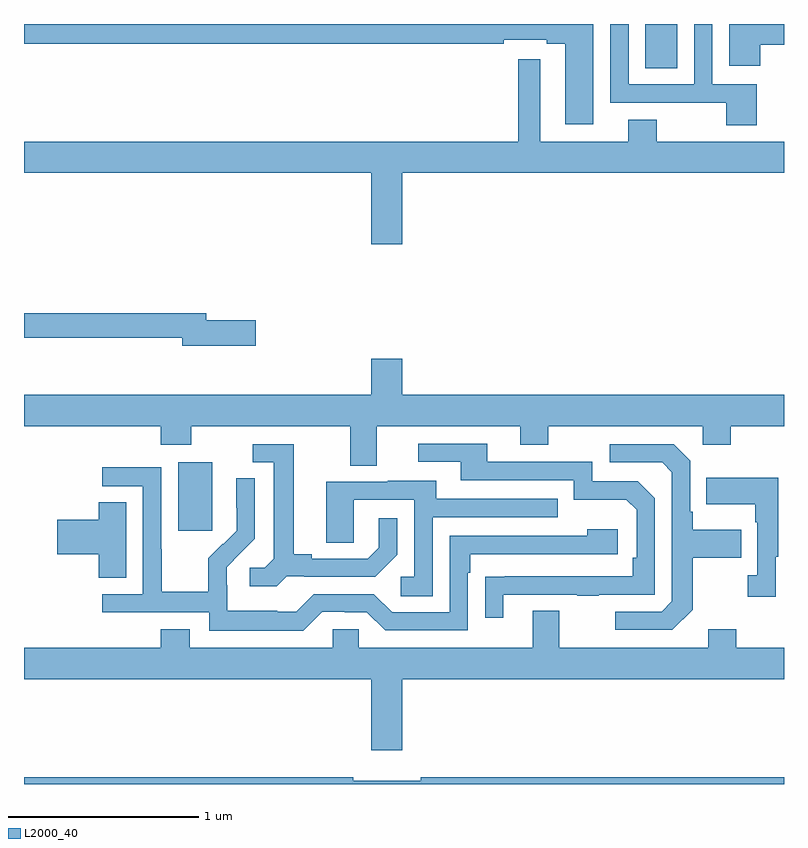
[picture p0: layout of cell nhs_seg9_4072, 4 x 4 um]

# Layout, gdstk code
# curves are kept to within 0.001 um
import gdstk
lib = gdstk.Library(unit=1e-6, precision=1e-09)
def R(c, l, rs):  # rectangles x0, y0, x1, y1
    for r in rs: c.add(gdstk.rectangle(r[:2], r[2:], *l))
def P(c, l, *ps):  # polygons
    for p in ps: c.add(gdstk.Polygon(p, *l))
L2000_40 = (2000, 40)

nhs_seg9_4072 = lib.new_cell('nhs_seg9_4072')
R(nhs_seg9_4072, L2000_40, [(343.811,1231.833,343.99,1232.194), (346.271,1234.267,346.438,1234.5)])
P(nhs_seg9_4072, L2000_40, [(346.856,1234.182),(346.623,1234.182),(346.623,1234.5),(346.527,1234.5),(346.527,1234.182),(346.182,1234.182),(346.182,1234.5),(346.086,1234.5),(346.086,1234.086),(346.43,1234.086),(346.43,1234.085),(346.696,1234.085),(346.696,1233.966),(346.856,1233.966)],
  [(346.874,1234.391),(347,1234.391),(347,1234.5),(346.712,1234.5),(346.712,1234.281),(346.874,1234.281)],
  [(345.997,1234.5),(343,1234.5),(343,1234.396),(345.524,1234.396),(345.524,1234.416),(345.752,1234.416),(345.752,1234.396),(345.848,1234.396),(345.848,1233.972),(345.997,1233.972)],
  [(344.992,1233.716),(347,1233.716),(347,1233.88),(346.329,1233.88),(346.329,1233.997),(346.181,1233.997),(346.181,1233.88),(345.718,1233.88),(345.718,1234.315),(345.601,1234.315),(345.601,1233.88),(343,1233.88),(343,1233.716),(344.828,1233.716),(344.828,1233.342),(344.992,1233.342)],
  [(344.221,1232.942),(343.96,1232.942),(343.96,1232.978),(343,1232.978),(343,1232.85),(343.832,1232.85),(343.832,1232.807),(344.221,1232.807)],
  [(344.857,1232.384),(345.611,1232.384),(345.611,1232.285),(345.759,1232.285),(345.759,1232.384),(346.572,1232.384),(346.572,1232.285),(346.719,1232.285),(346.719,1232.384),(347,1232.384),(347,1232.548),(344.992,1232.548),(344.992,1232.737),(344.828,1232.737),(344.828,1232.548),(343,1232.548),(343,1232.384),(343.721,1232.384),(343.721,1232.285),(343.881,1232.285),(343.881,1232.384),(344.717,1232.384),(344.717,1232.176),(344.857,1232.176)],
  [(345.523,1231.497),(345.913,1231.497),(345.913,1231.492),(346.025,1231.492),(346.025,1231.497),(346.32,1231.497),(346.32,1232.004),(346.23,1232.094),(345.99,1232.094),(345.99,1232.196),(345.439,1232.196),(345.439,1232.292),(345.075,1232.292),(345.075,1232.196),(345.299,1232.196),(345.299,1232.1),(345.894,1232.1),(345.894,1231.997),(346.171,1231.997),(346.224,1231.944),(346.224,1231.69),(346.204,1231.69),(346.204,1231.593),(345.427,1231.592),(345.427,1231.374),(345.523,1231.374)],
  [(344.382,1231.593),(344.476,1231.593),(344.476,1231.59),(344.848,1231.59),(344.964,1231.706),(344.964,1231.9),(344.867,1231.9),(344.867,1231.743),(344.81,1231.686),(344.515,1231.686),(344.515,1231.709),(344.419,1231.709),(344.419,1232.289),(344.205,1232.289),(344.205,1232.193),(344.315,1232.193),(344.315,1231.685),(344.268,1231.638),(344.187,1231.638),(344.187,1231.541),(344.33,1231.541)],
  [(346.519,1231.417),(346.519,1231.69),(346.775,1231.69),(346.775,1231.837),(346.519,1231.837),(346.519,1231.933),(346.506,1231.933),(346.506,1232.202),(346.419,1232.289),(346.083,1232.289),(346.083,1232.193),(346.359,1232.193),(346.41,1232.142),(346.41,1231.461),(346.356,1231.407),(346.113,1231.407),(346.113,1231.311),(346.413,1231.311)],
  [(344.571,1231.407),(344.687,1231.407),(344.687,1231.404),(344.805,1231.404),(344.901,1231.308),(345.336,1231.308),(345.336,1231.613),(345.349,1231.613),(345.349,1231.71),(346.126,1231.71),(346.126,1231.84),(345.965,1231.84),(345.965,1231.806),(345.24,1231.806),(345.24,1231.404),(344.937,1231.404),(344.841,1231.5),(344.526,1231.5),(344.433,1231.407),(344.333,1231.407),(344.333,1231.411),(344.07,1231.411),(344.07,1231.545),(344.068,1231.545),(344.068,1231.642),(344.214,1231.79),(344.214,1232.108),(344.118,1232.108),(344.118,1231.954),(344.12,1231.954),(344.12,1231.832),(344.049,1231.761),(344.046,1231.764),(343.969,1231.687),(343.969,1231.513),(343.725,1231.513),(343.725,1231.736),(343.722,1231.736),(343.722,1232.166),(343.413,1232.166),(343.413,1232.067),(343.626,1232.067),(343.626,1231.5),(343.413,1231.5),(343.413,1231.404),(343.974,1231.404),(343.974,1231.307),(344.471,1231.307)],
  [(346.957,1231.697),(346.969,1231.697),(346.969,1232.113),(346.591,1232.113),(346.591,1231.973),(346.848,1231.973),(346.848,1231.877),(346.86,1231.877),(346.86,1231.598),(346.809,1231.598),(346.809,1231.485),(346.957,1231.485)],
  [(345.15,1231.905),(345.809,1231.905),(345.809,1232.001),(345.169,1232.001),(345.169,1232.095),(344.915,1232.095),(344.915,1232.091),(344.591,1232.091),(344.591,1231.771),(344.736,1231.771),(344.736,1231.995),(345.054,1231.995),(345.054,1231.59),(344.982,1231.59),(344.982,1231.489),(345.15,1231.489)],
  [(343.537,1231.982),(343.394,1231.982),(343.394,1231.892),(343.176,1231.892),(343.176,1231.709),(343.394,1231.709),(343.394,1231.585),(343.537,1231.585)],
  [(344.992,1231.052),(347,1231.052),(347,1231.216),(346.749,1231.216),(346.749,1231.315),(346.601,1231.315),(346.601,1231.216),(345.817,1231.216),(345.817,1231.411),(345.677,1231.411),(345.677,1231.216),(344.763,1231.216),(344.763,1231.314),(344.625,1231.314),(344.625,1231.216),(343.873,1231.216),(343.873,1231.315),(343.721,1231.315),(343.721,1231.216),(343,1231.216),(343,1231.052),(344.828,1231.052),(344.828,1230.678),(344.992,1230.678)],
  [(347,1230.536),(345.088,1230.536),(345.088,1230.517),(344.732,1230.517),(344.732,1230.536),(343,1230.536),(343,1230.5),(347,1230.5)])

lib.write_gds('nhs_seg9_4072.gds')
